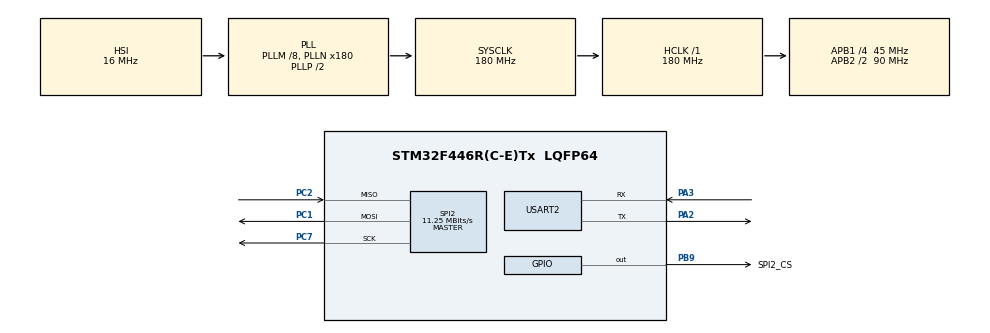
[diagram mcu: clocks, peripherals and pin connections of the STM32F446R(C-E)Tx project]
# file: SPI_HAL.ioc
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Mcu.Family=STM32F4
Mcu.Name=STM32F446R(C-E)Tx
Mcu.Package=LQFP64
NVIC.PriorityGroup=NVIC_PRIORITYGROUP_4
NVIC.TIM6_DAC_IRQn=true\:2\:0\:true\:false\:true\:true\:true\:true
NVIC.USART2_IRQn=true\:1\:0\:true\:false\:true\:true\:true\:true
PA2.GPIO_Speed=GPIO_SPEED_FREQ_VERY_HIGH
PA2.Mode=Asynchronous
PA2.Signal=USART2_TX
PA3.GPIO_ModeDefaultPP=GPIO_MODE_AF_PP
PA3.Mode=Asynchronous
PA3.Signal=USART2_RX
PB9.GPIO_Label=SPI2_CS
PB9.GPIO_ModeDefaultOutputPP=GPIO_MODE_OUTPUT_PP
PB9.GPIO_Speed=GPIO_SPEED_FREQ_VERY_HIGH
PB9.PinState=GPIO_PIN_SET
PB9.Signal=GPIO_Output
PC1.Mode=Full_Duplex_Master
PC1.Signal=SPI2_MOSI
PC2.Mode=Full_Duplex_Master
PC2.Signal=SPI2_MISO
PC7.Mode=Full_Duplex_Master
PC7.Signal=SPI2_SCK
PH0-OSC_IN.Mode=HSE-External-Oscillator
PH0-OSC_IN.Signal=RCC_OSC_IN
PH1-OSC_OUT.Mode=HSE-External-Oscillator
PH1-OSC_OUT.Signal=RCC_OSC_OUT
ProjectManager.HeapSize=0x200
ProjectManager.StackSize=0x400
ProjectManager.TargetToolchain=STM32CubeIDE
RCC.AHBFreq_Value=180000000
RCC.APB1CLKDivider=RCC_HCLK_DIV4
RCC.APB1Freq_Value=45000000
RCC.APB1TimFreq_Value=90000000
RCC.APB2CLKDivider=RCC_HCLK_DIV2
RCC.APB2Freq_Value=90000000
RCC.APB2TimFreq_Value=180000000
RCC.CortexFreq_Value=180000000
RCC.HCLKFreq_Value=180000000
RCC.PLLM=8
RCC.PLLN=180
RCC.PWR_Regulator_Voltage_Scale=PWR_REGULATOR_VOLTAGE_SCALE1
RCC.SYSCLKFreq_VALUE=180000000
RCC.SYSCLKSource=RCC_SYSCLKSOURCE_PLLCLK
RCC.USBFreq_Value=180000000
RCC.VCOOutputFreq_Value=360000000
SPI2.BaudRatePrescaler=SPI_BAUDRATEPRESCALER_4
SPI2.CalculateBaudRate=11.25 MBits/s
SPI2.Direction=SPI_DIRECTION_2LINES
SPI2.Mode=SPI_MODE_MASTER
SPI2.VirtualType=VM_MASTER
TIM6.TIM_MasterOutputTrigger=TIM_TRGO_UPDATE
USART2.VirtualMode=VM_ASYNC
VP_TIM6_VS_ClockSourceINT.Mode=Enable_Timer
board=custom

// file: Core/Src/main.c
/* USER CODE BEGIN Header */
/**
  ******************************************************************************
  * @file           : main.c
  * @brief          : Main program body - BMP280 SPI2 Sensor Interface (HAL)
  ******************************************************************************
  * @attention
  *
  * Copyright (c) 2026 STMicroelectronics.
  * All rights reserved.
  *
  * This software is licensed under terms that can be found in the LICENSE file
  * in the root directory of this software component.
  * If no LICENSE file comes with this software, it is provided AS-IS.
  *
  ******************************************************************************
  *
  * CSE 2206 — Microcontroller & Embedded System Lab
  * Assignment 3, Part A: BMP280 Sensor Interface — HAL VERSION
  * Platform  : STM32F446RE Nucleo-64
  * Clock     : SYSCLK = 180 MHz (HSE PLL), APB1 = 45 MHz, APB2 = 90 MHz
  * Sensor    : BMP280 (hardware substitute for BME280)
  *
  ******************************************************************************
  */
/* USER CODE END Header */
#include "main.h"
#include <stdio.h>
#include <string.h>
#include <stdint.h>

/* USER CODE BEGIN PTD */

/**
 * BMP280 Calibration parameter structure
 */
typedef struct {
    uint16_t dig_T1;
    int16_t  dig_T2;
    int16_t  dig_T3;
    uint16_t dig_P1;
    int16_t  dig_P2;
    int16_t  dig_P3;
    int16_t  dig_P4;
    int16_t  dig_P5;
    int16_t  dig_P6;
    int16_t  dig_P7;
    int16_t  dig_P8;
    int16_t  dig_P9;
} BMP280_Calib_t;

/* USER CODE END PTD */

/* USER CODE BEGIN PD */

/* ============================================================
 * BMP280 Register Address Map
 * ============================================================ */
#define BMP280_REG_DIG_T1       0x88U
#define BMP280_REG_DIG_T2       0x8AU
#define BMP280_REG_DIG_T3       0x8CU
#define BMP280_REG_DIG_P1       0x8EU
#define BMP280_REG_DIG_P2       0x90U
#define BMP280_REG_DIG_P3       0x92U
#define BMP280_REG_DIG_P4       0x94U
#define BMP280_REG_DIG_P5       0x96U
#define BMP280_REG_DIG_P6       0x98U
#define BMP280_REG_DIG_P7       0x9AU
#define BMP280_REG_DIG_P8       0x9CU
#define BMP280_REG_DIG_P9       0x9EU
#define BMP280_REG_CHIP_ID      0xD0U
#define BMP280_REG_RESET        0xE0U
#define BMP280_REG_STATUS       0xF3U
#define BMP280_REG_CTRL_MEAS    0xF4U
#define BMP280_REG_CONFIG       0xF5U
#define BMP280_REG_BURST_START  0xF7U   /* Pressure MSB — burst reads 6 bytes */

#define BMP280_CHIP_ID_PRIMARY  0x58U   /* Most BMP280 modules */
#define BMP280_CHIP_ID_ALT1     0x57U   /* Engineering samples */
#define BMP280_CHIP_ID_ALT2     0x56U   /* Early silicon */

#define BMP280_SOFT_RESET_CMD   0xB6U   /* Write to REG_RESET to soft-reset */

/* USER CODE END PD */

SPI_HandleTypeDef hspi2;

TIM_HandleTypeDef htim6;

UART_HandleTypeDef huart2;

/* USER CODE BEGIN PV */

/**
 * Global sensor state
 */
static BMP280_Calib_t calib;
static int32_t        t_fine;           /* Shared between T and P compensation */

/* Sensor readings — written by ISR, read by verification/main */
static volatile int32_t  g_comp_T  = 0; /* Units: hundredths of °C (e.g. 2534 = 25.34 °C) */
static volatile uint32_t g_comp_P  = 0; /* Units: Q24.8 fixed-point Pa */
static volatile uint32_t g_tick    = 0U;

/* USER CODE END PV */

void SystemClock_Config(void);
static void MX_GPIO_Init(void);
static void MX_SPI2_Init(void);
static void MX_TIM6_Init(void);
static void MX_USART2_UART_Init(void);
/* USER CODE BEGIN PFP */

/* BMP280 Functions */
static void BMP280_ReadCalibration(void);
static int32_t BMP280_Compensate_T(int32_t adc_T);
static uint32_t BMP280_Compensate_P(int32_t adc_P);
static void SampleAndCompensate(void);
static uint8_t BMP280_Init(void);
static void RunVerificationTests(void);

/* Helper Functions */
static void USART2_SendString(const char *s);
static uint8_t SPI2_TxRx(uint8_t data);
static void BMP280_WriteReg(uint8_t reg, uint8_t value);
static uint8_t BMP280_ReadReg(uint8_t reg);
static void BMP280_BurstRead(uint8_t start_reg, uint8_t *buf, uint8_t length);

/* USER CODE END PFP */

/* USER CODE BEGIN 0 */

/**
 * Millisecond Delay (HAL-based)
 */
static void delay_ms(uint32_t ms)
{
    HAL_Delay(ms);
}

/**
 * USART2 Send String
 */
static void USART2_SendString(const char *s)
{
    while (*s)
    {
        HAL_UART_Transmit(&huart2, (uint8_t *)s, 1U, HAL_MAX_DELAY);
        s++;
    }
}

/**
 * Printf redirect for snprintf support
 */
int __io_putchar(int ch)
{
    uint8_t c = (uint8_t)(ch & 0xFF);
    HAL_UART_Transmit(&huart2, &c, 1U, HAL_MAX_DELAY);
    return ch;
}

/**
 * SPI2 Transmit/Receive Single Byte
 */
static uint8_t SPI2_TxRx(uint8_t data)
{
    uint8_t rx_data = 0U;
    HAL_SPI_TransmitReceive(&hspi2, &data, &rx_data, 1U, HAL_MAX_DELAY);
    return rx_data;
}

/**
 * BMP280 Write Register
 */
static void BMP280_WriteReg(uint8_t reg, uint8_t value)
{
    /* CS Low (active) */
    HAL_GPIO_WritePin(GPIOB, GPIO_PIN_9, GPIO_PIN_RESET);

    SPI2_TxRx(reg & 0x7FU);    /* Write address (MSB=0 for write) */
    SPI2_TxRx(value);           /* Write data */

    /* Wait for SPI to finish */
    while (hspi2.Instance->SR & SPI_SR_BSY);

    /* CS High (inactive) */
    HAL_GPIO_WritePin(GPIOB, GPIO_PIN_9, GPIO_PIN_SET);
}

/**
 * BMP280 Read Register
 */
static uint8_t BMP280_ReadReg(uint8_t reg)
{
    uint8_t val;

    /* CS Low (active) */
    HAL_GPIO_WritePin(GPIOB, GPIO_PIN_9, GPIO_PIN_RESET);

    SPI2_TxRx(reg | 0x80U);     /* Read address (MSB=1 for read) */
    val = SPI2_TxRx(0x00U);     /* Read data */

    /* Wait for SPI to finish */
    while (hspi2.Instance->SR & SPI_SR_BSY);

    /* CS High (inactive) */
    HAL_GPIO_WritePin(GPIOB, GPIO_PIN_9, GPIO_PIN_SET);

    return val;
}

/**
 * BMP280 Burst Read (Multiple Bytes)
 */
static void BMP280_BurstRead(uint8_t start_reg, uint8_t *buf, uint8_t length)
{
    /* CS Low (active) */
    HAL_GPIO_WritePin(GPIOB, GPIO_PIN_9, GPIO_PIN_RESET);

    SPI2_TxRx(start_reg | 0x80U);  /* Read address (MSB=1 for read) */

    for (uint8_t i = 0U; i < length; i++)
    {
        buf[i] = SPI2_TxRx(0xFFU);
    }

    /* Wait for SPI to finish */
    while (hspi2.Instance->SR & SPI_SR_BSY);

    /* CS High (inactive) */
    HAL_GPIO_WritePin(GPIOB, GPIO_PIN_9, GPIO_PIN_SET);
}

/**
 * BMP280 Read Calibration Constants from NVM
 */
static void BMP280_ReadCalibration(void)
{
    uint8_t calib_buf[24];
    BMP280_BurstRead(0x88U, calib_buf, 24U);

    calib.dig_T1 = (uint16_t)((calib_buf[1]  << 8) | calib_buf[0]);
    calib.dig_T2 = (int16_t) ((calib_buf[3]  << 8) | calib_buf[2]);
    calib.dig_T3 = (int16_t) ((calib_buf[5]  << 8) | calib_buf[4]);

    calib.dig_P1 = (uint16_t)((calib_buf[7]  << 8) | calib_buf[6]);
    calib.dig_P2 = (int16_t) ((calib_buf[9]  << 8) | calib_buf[8]);
    calib.dig_P3 = (int16_t) ((calib_buf[11] << 8) | calib_buf[10]);
    calib.dig_P4 = (int16_t) ((calib_buf[13] << 8) | calib_buf[12]);
    calib.dig_P5 = (int16_t) ((calib_buf[15] << 8) | calib_buf[14]);
    calib.dig_P6 = (int16_t) ((calib_buf[17] << 8) | calib_buf[16]);
    calib.dig_P7 = (int16_t) ((calib_buf[19] << 8) | calib_buf[18]);
    calib.dig_P8 = (int16_t) ((calib_buf[21] << 8) | calib_buf[20]);
    calib.dig_P9 = (int16_t) ((calib_buf[23] << 8) | calib_buf[22]);
}

/**
 * BMP280 Temperature Compensation
 * Returns temperature in units of 0.01 °C (e.g., 2534 = 25.34 °C)
 */
static int32_t BMP280_Compensate_T(int32_t adc_T)
{
    int32_t var1, var2, T;

    var1 = (((adc_T >> 3) - ((int32_t)calib.dig_T1 << 1)) * (int32_t)calib.dig_T2) >> 11;
    var2 = (((((adc_T >> 4) - (int32_t)calib.dig_T1) * ((adc_T >> 4) - (int32_t)calib.dig_T1)) >> 12) * (int32_t)calib.dig_T3) >> 14;

    t_fine = var1 + var2;
    T      = (t_fine * 5 + 128) >> 8;
    return T;
}

/**
 * BMP280 Pressure Compensation
 * Returns pressure in units of Q24.8 Pa (divide by 256 for Pa, by 25600 for hPa)
 */
static uint32_t BMP280_Compensate_P(int32_t adc_P)
{
    int64_t var1, var2, p;

    var1 = ((int64_t)t_fine) - 128000;
    var2 = var1 * var1 * (int64_t)calib.dig_P6;
    var2 = var2 + ((var1 * (int64_t)calib.dig_P5) << 17);
    var2 = var2 + (((int64_t)calib.dig_P4) << 35);
    var1 = ((var1 * var1 * (int64_t)calib.dig_P3) >> 8) + ((var1 * (int64_t)calib.dig_P2) << 12);
    var1 = (((((int64_t)1) << 47) + var1) * ((int64_t)calib.dig_P1)) >> 33;

    if (var1 == 0) return 0U; /* Avoid division by zero */

    p     = 1048576 - adc_P;
    p     = (((p << 31) - var2) * 3125) / var1;
    var1  = (((int64_t)calib.dig_P9) * (p >> 13) * (p >> 13)) >> 25;
    var2  = (((int64_t)calib.dig_P8) * p) >> 19;
    p     = ((p + var1 + var2) >> 8) + (((int64_t)calib.dig_P7) << 4);

    return (uint32_t)p;
}

/**
 * Sample ADC and Apply Compensation
 */
static void SampleAndCompensate(void)
{
    uint8_t  raw[6];
    int32_t  adc_T, adc_P;

    BMP280_BurstRead(BMP280_REG_BURST_START, raw, 6U);

    adc_P = (int32_t)(((uint32_t)raw[0] << 12U)
                    | ((uint32_t)raw[1] <<  4U)
                    | ((uint32_t)raw[2] >>  4U));

    adc_T = (int32_t)(((uint32_t)raw[3] << 12U)
                    | ((uint32_t)raw[4] <<  4U)
                    | ((uint32_t)raw[5] >>  4U));

    g_comp_T = BMP280_Compensate_T(adc_T);
    g_comp_P = BMP280_Compensate_P(adc_P);
}

/**
 * BMP280 Initialization Sequence
 * Returns: Chip ID if successful, 0 if failed
 */
static uint8_t BMP280_Init(void)
{
    uint8_t chip_id, status;
    uint32_t timeout;

    /* Soft Reset */
    BMP280_WriteReg(BMP280_REG_RESET, BMP280_SOFT_RESET_CMD);
    delay_ms(10U);

    /* Wait for status bit to clear */
    timeout = 100000U;
    do {
        status = BMP280_ReadReg(BMP280_REG_STATUS);
        if (--timeout == 0U) break;
    } while (status & 0x01U);

    delay_ms(10U);

    /* Read and verify Chip ID */
    chip_id = BMP280_ReadReg(BMP280_REG_CHIP_ID);
    if (chip_id != BMP280_CHIP_ID_PRIMARY &&
        chip_id != BMP280_CHIP_ID_ALT1 &&
        chip_id != BMP280_CHIP_ID_ALT2)
    {
        return 0U;
    }

    /* Load calibration constants */
    BMP280_ReadCalibration();

    /* Configure operating mode */
    BMP280_WriteReg(BMP280_REG_CONFIG,    0x10U); /* IIR Filter = 16 */
    BMP280_WriteReg(BMP280_REG_CTRL_MEAS, 0x57U); /* Temp x2, Pres x16, Normal Mode */

    return chip_id;
}

/**
 * Run Verification Tests (A1-A5)
 */
static void RunVerificationTests(void)
{
    char s[96];

    /* Sample live hardware definitions directly */
    int32_t  tc        = g_comp_T;
    uint32_t press_pa  = g_comp_P / 256U;
    uint32_t press_hpa = press_pa / 100U;

    /* ---- Test A1: Chip ID ---- */
    uint8_t id = BMP280_ReadReg(BMP280_REG_CHIP_ID);
    snprintf(s, sizeof(s), "[A1] ChipID=0x%02X (BMP280 expect 0x58/0x57/0x56; BME280=0x60)\r\n", id);
    USART2_SendString(s);
    if (id == BMP280_CHIP_ID_PRIMARY || id == BMP280_CHIP_ID_ALT1 || id == BMP280_CHIP_ID_ALT2)
        USART2_SendString("[A1] Chip ID PASS\r\n");
    else
        USART2_SendString("[A1] Chip ID FAIL\r\n");

    /* ---- Test A2: UART Loopback ---- */
    USART2_SendString("[A2] UART OK\r\n");

    /* ---- Test A3: TIM6 Heartbeat ---- */
    if (htim6.Instance->CR1 & TIM_CR1_CEN)
        USART2_SendString("[A3] TIM6 heartbeat running — see tick counter in live output\r\n");
    else
        USART2_SendString("[A3] TIM6 FAIL\r\n");

    /* ---- Test A4: Sensor Plausibility ---- */
    uint8_t t_ok = (tc >= 1500 && tc <= 4000);
    uint8_t p_ok = (press_hpa >= 900U && press_hpa <= 1100U);

    if (!t_ok)
    {
        snprintf(s, sizeof(s), "[A4] Temp FAIL: %ld.%02ld C (expect 15–40 C)\r\n",
                 (long)(tc / 100), (long)(tc % 100 < 0 ? -(tc % 100) : tc % 100));
        USART2_SendString(s);
    }
    else if (!p_ok)
    {
        snprintf(s, sizeof(s), "[A4] Pres FAIL: %lu hPa (expect 900–1100 hPa)\r\n", (unsigned long)press_hpa);
        USART2_SendString(s);
    }
    else
    {
        USART2_SendString("[A4] Plausibility PASS\r\n");
    }

    /* ---- Test A5 ---- */
    USART2_SendString("[A5] See HAL project output — record three readings in lab report\r\n");
}

/* USER CODE END 0 */

int main(void)
{

  /* MCU Configuration--------------------------------------------------------*/

  /* Reset of all peripherals, Initializes the Flash interface and the Systick. */
  HAL_Init();

  /* Configure the system clock */
  SystemClock_Config();

  /* Initialize all configured peripherals */
  MX_GPIO_Init();
  MX_USART2_UART_Init();
  MX_SPI2_Init();
  MX_TIM6_Init();

  /* USER CODE BEGIN 2 */

  /* ============================================================
   * APPLICATION START
   * ============================================================ */
  USART2_SendString("\r\n========================================\r\n");
  USART2_SendString(" CSE 2206 - Assignment 3 Part A\r\n");
  USART2_SendString(" BMP280 via SPI2 - HAL (STM32F446RE)\r\n");
  USART2_SendString("========================================\r\n");
  USART2_SendString("System Clock: 180 MHz (PLL)\r\n");
  USART2_SendString("APB1: 45 MHz | APB2: 90 MHz\r\n\r\n");
  USART2_SendString("[A2] UART OK\r\n\r\n");

  USART2_SendString("Initialising BMP280...\r\n");
  uint8_t chip_id = BMP280_Init();

  if (chip_id == 0U)
  {
      USART2_SendString("ERROR: BMP280 not detected! Halting.\r\n");
      while (1);
  }

  char buf[64];
  snprintf(buf, sizeof(buf), "BMP280 detected: ChipID=0x%02X\r\n", chip_id);
  USART2_SendString(buf);
  USART2_SendString("Calibration constants loaded from NVM.\r\n");

  {
      char cbuf[160];
      snprintf(cbuf, sizeof(cbuf), "  dig_T1=%u  dig_T2=%d  dig_T3=%d\r\n",
               calib.dig_T1, calib.dig_T2, calib.dig_T3);
      USART2_SendString(cbuf);

      snprintf(cbuf, sizeof(cbuf),
               "  dig_P1=%u  dig_P2=%d  dig_P3=%d\r\n"
               "  dig_P4=%d  dig_P5=%d  dig_P6=%d\r\n"
               "  dig_P7=%d  dig_P8=%d  dig_P9=%d\r\n",
               calib.dig_P1, calib.dig_P2, calib.dig_P3,
               calib.dig_P4, calib.dig_P5, calib.dig_P6,
               calib.dig_P7, calib.dig_P8, calib.dig_P9);
      USART2_SendString(cbuf);
  }
  USART2_SendString("Sensor in Normal mode (T×2, P×16, IIR=16, t_sb=0.5ms)\r\n\r\n");

  /* Wait for the first autonomous hardware conversion loop to complete */
  delay_ms(100U);
  SampleAndCompensate();

  /* Start TIM6 interrupt (1 Hz periodic) */
  HAL_TIM_Base_Start_IT(&htim6);

  USART2_SendString("--- VERIFICATION TESTS ---\r\n");
  RunVerificationTests();
  USART2_SendString("--------------------------\r\n\r\n");

  USART2_SendString("--- LIVE SENSOR OUTPUT (1 Hz via TIM6 ISR) ---\r\n");

  /* USER CODE END 2 */

  /* Infinite loop */
  while (1)
  {
    __WFI();  /* Wait for interrupt */

  }
}

void SystemClock_Config(void)
{
  RCC_OscInitTypeDef RCC_OscInitStruct = {0};
  RCC_ClkInitTypeDef RCC_ClkInitStruct = {0};

  /** Configure the main internal regulator output voltage
  */
  __HAL_RCC_PWR_CLK_ENABLE();
  __HAL_PWR_VOLTAGESCALING_CONFIG(PWR_REGULATOR_VOLTAGE_SCALE1);

  /** Initializes the RCC Oscillators according to the specified parameters
  * in the RCC_OscInitTypeDef structure.
  */
  RCC_OscInitStruct.OscillatorType = RCC_OSCILLATORTYPE_HSI;
  RCC_OscInitStruct.HSIState = RCC_HSI_ON;
  RCC_OscInitStruct.HSICalibrationValue = RCC_HSICALIBRATION_DEFAULT;
  RCC_OscInitStruct.PLL.PLLState = RCC_PLL_ON;
  RCC_OscInitStruct.PLL.PLLSource = RCC_PLLSOURCE_HSI;
  RCC_OscInitStruct.PLL.PLLM = 8;
  RCC_OscInitStruct.PLL.PLLN = 180;
  RCC_OscInitStruct.PLL.PLLP = RCC_PLLP_DIV2;
  RCC_OscInitStruct.PLL.PLLQ = 2;
  RCC_OscInitStruct.PLL.PLLR = 2;
  if (HAL_RCC_OscConfig(&RCC_OscInitStruct) != HAL_OK)
  {
    Error_Handler();
  }

  /** Activate the Over-Drive mode
  */
  if (HAL_PWREx_EnableOverDrive() != HAL_OK)
  {
    Error_Handler();
  }

  /** Initializes the CPU, AHB and APB buses clocks
  */
  RCC_ClkInitStruct.ClockType = RCC_CLOCKTYPE_HCLK|RCC_CLOCKTYPE_SYSCLK
                              |RCC_CLOCKTYPE_PCLK1|RCC_CLOCKTYPE_PCLK2;
  RCC_ClkInitStruct.SYSCLKSource = RCC_SYSCLKSOURCE_PLLCLK;
  RCC_ClkInitStruct.AHBCLKDivider = RCC_SYSCLK_DIV1;
  RCC_ClkInitStruct.APB1CLKDivider = RCC_HCLK_DIV4;
  RCC_ClkInitStruct.APB2CLKDivider = RCC_HCLK_DIV2;

  if (HAL_RCC_ClockConfig(&RCC_ClkInitStruct, FLASH_LATENCY_5) != HAL_OK)
  {
    Error_Handler();
  }
}

static void MX_SPI2_Init(void)
{

  /* SPI2 parameter configuration*/
  hspi2.Instance = SPI2;
  hspi2.Init.Mode = SPI_MODE_MASTER;
  hspi2.Init.Direction = SPI_DIRECTION_2LINES;
  hspi2.Init.DataSize = SPI_DATASIZE_8BIT;
  hspi2.Init.CLKPolarity = SPI_POLARITY_LOW;
  hspi2.Init.CLKPhase = SPI_PHASE_1EDGE;
  hspi2.Init.NSS = SPI_NSS_SOFT;
  hspi2.Init.BaudRatePrescaler = SPI_BAUDRATEPRESCALER_4;
  hspi2.Init.FirstBit = SPI_FIRSTBIT_MSB;
  hspi2.Init.TIMode = SPI_TIMODE_DISABLE;
  hspi2.Init.CRCCalculation = SPI_CRCCALCULATION_DISABLE;
  hspi2.Init.CRCPolynomial = 10;
  if (HAL_SPI_Init(&hspi2) != HAL_OK)
  {
    Error_Handler();
  }

}

static void MX_TIM6_Init(void)
{

  TIM_MasterConfigTypeDef sMasterConfig = {0};

  htim6.Instance = TIM6;
  htim6.Init.Prescaler = 8999;  /* CORRECTED: Was 0, should be PSC-1 for 1 sec period */
  htim6.Init.CounterMode = TIM_COUNTERMODE_UP;
  htim6.Init.Period = 4999;     /* CORRECTED: Was 65535, should be ARR-1 for 1 sec period */
  htim6.Init.AutoReloadPreload = TIM_AUTORELOAD_PRELOAD_ENABLE;
  if (HAL_TIM_Base_Init(&htim6) != HAL_OK)
  {
    Error_Handler();
  }
  sMasterConfig.MasterOutputTrigger = TIM_TRGO_UPDATE;
  sMasterConfig.MasterSlaveMode = TIM_MASTERSLAVEMODE_DISABLE;
  if (HAL_TIMEx_MasterConfigSynchronization(&htim6, &sMasterConfig) != HAL_OK)
  {
    Error_Handler();
  }

}

static void MX_USART2_UART_Init(void)
{

  huart2.Instance = USART2;
  huart2.Init.BaudRate = 115200;
  huart2.Init.WordLength = UART_WORDLENGTH_8B;
  huart2.Init.StopBits = UART_STOPBITS_1;
  huart2.Init.Parity = UART_PARITY_NONE;
  huart2.Init.Mode = UART_MODE_TX_RX;
  huart2.Init.HwFlowCtl = UART_HWCONTROL_NONE;
  huart2.Init.OverSampling = UART_OVERSAMPLING_16;
  if (HAL_UART_Init(&huart2) != HAL_OK)
  {
    Error_Handler();
  }

}

static void MX_GPIO_Init(void)
{
  GPIO_InitTypeDef GPIO_InitStruct = {0};

  /* GPIO Ports Clock Enable */
  __HAL_RCC_GPIOH_CLK_ENABLE();
  __HAL_RCC_GPIOC_CLK_ENABLE();
  __HAL_RCC_GPIOA_CLK_ENABLE();
  __HAL_RCC_GPIOB_CLK_ENABLE();

  /*Configure GPIO pin Output Level */
  HAL_GPIO_WritePin(GPIOB, GPIO_PIN_9, GPIO_PIN_SET);

  /*Configure GPIO pin : SPI2_CS_Pin (PB9) */
  GPIO_InitStruct.Pin = GPIO_PIN_9;
  GPIO_InitStruct.Mode = GPIO_MODE_OUTPUT_PP;
  GPIO_InitStruct.Pull = GPIO_NOPULL;
  GPIO_InitStruct.Speed = GPIO_SPEED_FREQ_VERY_HIGH;
  HAL_GPIO_Init(GPIOB, &GPIO_InitStruct);

}

/* USER CODE BEGIN 4 */

/**
 * TIM6 Period Elapsed Callback (1 Hz interrupt)
 * This callback is called automatically by HAL when TIM6 interrupt fires
 */
void HAL_TIM_PeriodElapsedCallback(TIM_HandleTypeDef *htim)
{
    if (htim->Instance == TIM6)
    {
        g_tick++;

        /* Perform reading conversion update loops */
        SampleAndCompensate();

        /* Format output metrics */
        int32_t tc_w = g_comp_T / 100;
        int32_t tc_f = g_comp_T % 100;
        if (tc_f < 0) tc_f = -tc_f;

        int32_t tf_s = g_comp_T * 9 / 5 + 3200;
        int32_t tf_w = tf_s / 100;
        int32_t tf_f = tf_s % 100;
        if (tf_f < 0) tf_f = -tf_f;

        uint32_t pp  = g_comp_P / 256U;
        uint32_t phw = pp / 100U;
        uint32_t phf = pp % 100U;

        char msg[160];
        snprintf(msg, sizeof(msg),
                 "[Tick:%4lu] Temp: %ld.%02ld C / %ld.%02ld F | "
                 "Pres: %lu.%02lu hPa | Hum: N/A (BMP280)\r\n",
                 (unsigned long)g_tick,
                 (long)tc_w, (long)tc_f,
                 (long)tf_w, (long)tf_f,
                 (unsigned long)phw, (unsigned long)phf);

        USART2_SendString(msg);
    }
}

/* USER CODE END 4 */

void Error_Handler(void)
{
  __disable_irq();
  while (1)
  {
  }
}
